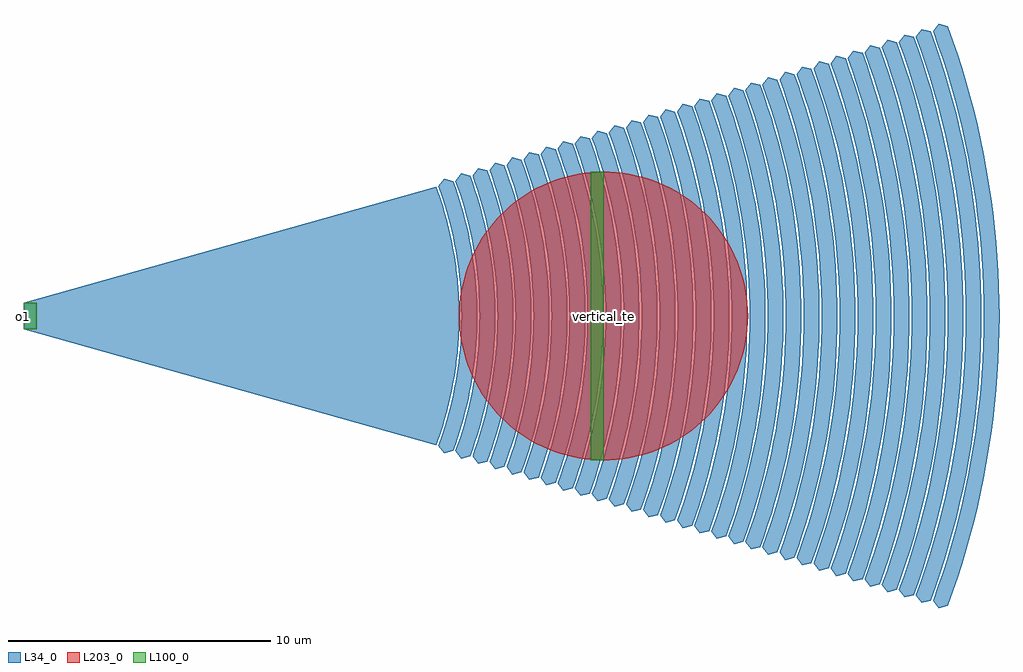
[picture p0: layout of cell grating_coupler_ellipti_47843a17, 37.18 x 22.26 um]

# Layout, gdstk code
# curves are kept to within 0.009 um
import gdstk
lib = gdstk.Library(unit=1e-6, precision=1e-09)
def R(c, l, rs):  # rectangles x0, y0, x1, y1
    for r in rs: c.add(gdstk.rectangle(r[:2], r[2:], *l))
def P(c, l, *ps):  # polygons
    for p in ps: c.add(gdstk.Polygon(p, *l))
L34_0 = (34, 0)
L100_0 = (100, 0)
L203_0 = (203, 0)

circle_347ccaa3 = lib.new_cell('circle_347ccaa3')
P(circle_347ccaa3, L203_0, [(5.5,0),(5.495,0.24),(5.453,0.718),(5.37,1.19),(5.245,1.654),(5.081,2.105),(4.879,2.54),(4.639,2.955),(4.505,3.155),(4.213,3.535),(3.889,3.889),(3.535,4.213),(3.155,4.505),(2.955,4.639),(2.54,4.879),(2.105,5.081),(1.654,5.245),(1.19,5.37),(0.718,5.453),(0.24,5.495),(0,5.5),(-0.24,5.495),(-0.718,5.453),(-1.19,5.37),(-1.654,5.245),(-2.105,5.081),(-2.54,4.879),(-2.955,4.639),(-3.155,4.505),(-3.535,4.213),(-3.889,3.889),(-4.213,3.535),(-4.505,3.155),(-4.639,2.955),(-4.879,2.54),(-5.081,2.105),(-5.245,1.654),(-5.37,1.19),(-5.453,0.718),(-5.495,0.24),(-5.5,0),(-5.495,-0.24),(-5.453,-0.718),(-5.37,-1.19),(-5.245,-1.654),(-5.081,-2.105),(-4.879,-2.54),(-4.639,-2.955),(-4.505,-3.155),(-4.213,-3.535),(-3.889,-3.889),(-3.535,-4.213),(-3.155,-4.505),(-2.955,-4.639),(-2.54,-4.879),(-2.105,-5.081),(-1.654,-5.245),(-1.19,-5.37),(-0.718,-5.453),(-0.24,-5.495),(0,-5.5),(0.24,-5.495),(0.718,-5.453),(1.19,-5.37),(1.654,-5.245),(2.105,-5.081),(2.54,-4.879),(2.955,-4.639),(3.155,-4.505),(3.535,-4.213),(3.889,-3.889),(4.213,-3.535),(4.505,-3.155),(4.639,-2.955),(4.879,-2.54),(5.081,-2.105),(5.245,-1.654),(5.37,-1.19),(5.453,-0.718),(5.495,-0.24)])

grating_coupler_ellipti_ = lib.new_cell('grating_coupler_ellipti_47843a17')
P(grating_coupler_ellipti_, L34_0, [(0,0.5),(0,-0.5),(15.723,-4.924),(16.037,-3.969),(16.282,-2.994),(16.401,-2.376),(16.476,-1.879),(16.565,-1.004),(16.6,0),(16.565,1.004),(16.476,1.879),(16.401,2.376),(16.282,2.994),(16.037,3.969),(15.723,4.924)],
  [(16.021,-5.227),(15.806,-4.938),(15.973,-4.459),(16.189,-3.735),(16.312,-3.246),(16.465,-2.506),(16.544,-2.008),(16.631,-1.258),(16.677,-0.504),(16.686,0),(16.677,0.504),(16.631,1.258),(16.544,2.008),(16.465,2.506),(16.312,3.246),(16.189,3.735),(15.973,4.459),(15.806,4.938),(16.021,5.227),(16.371,5.14),(16.543,4.646),(16.698,4.144),(16.897,3.382),(17.007,2.869),(17.099,2.352),(17.203,1.572),(17.265,0.787),(17.286,0),(17.265,-0.787),(17.203,-1.572),(17.099,-2.352),(17.007,-2.869),(16.897,-3.382),(16.698,-4.144),(16.543,-4.646),(16.371,-5.14)],
  [(16.671,-5.431),(16.456,-5.141),(16.709,-4.393),(16.855,-3.889),(16.983,-3.38),(17.141,-2.609),(17.259,-1.831),(17.314,-1.309),(17.363,-0.524),(17.372,0),(17.363,0.524),(17.314,1.309),(17.259,1.831),(17.141,2.609),(16.983,3.38),(16.855,3.889),(16.709,4.393),(16.456,5.141),(16.671,5.431),(17.021,5.343),(17.282,4.57),(17.434,4.045),(17.567,3.516),(17.682,2.982),(17.778,2.445),(17.886,1.634),(17.95,0.818),(17.972,0),(17.95,-0.818),(17.886,-1.634),(17.778,-2.445),(17.682,-2.982),(17.567,-3.516),(17.434,-4.045),(17.282,-4.57),(17.021,-5.343)],
  [(17.321,-5.634),(17.106,-5.345),(17.369,-4.567),(17.52,-4.043),(17.654,-3.514),(17.818,-2.712),(17.94,-1.904),(17.998,-1.361),(18.048,-0.545),(18.058,0),(18.048,0.545),(17.998,1.361),(17.94,1.904),(17.818,2.712),(17.654,3.514),(17.52,4.043),(17.369,4.567),(17.106,5.345),(17.321,5.634),(17.671,5.547),(17.942,4.744),(18.1,4.199),(18.238,3.65),(18.409,2.818),(18.536,1.977),(18.596,1.414),(18.636,0.849),(18.658,0),(18.636,-0.849),(18.596,-1.414),(18.536,-1.977),(18.409,-2.818),(18.238,-3.65),(18.1,-4.199),(17.942,-4.744),(17.671,-5.547)],
  [(17.97,-5.838),(17.755,-5.548),(17.942,-5.011),(18.186,-4.197),(18.386,-3.371),(18.495,-2.816),(18.585,-2.257),(18.682,-1.413),(18.722,-0.849),(18.744,0),(18.722,0.849),(18.682,1.413),(18.585,2.257),(18.495,2.816),(18.386,3.371),(18.186,4.197),(17.942,5.011),(17.755,5.548),(17.97,5.838),(18.32,5.75),(18.602,4.918),(18.765,4.353),(18.909,3.784),(19.032,3.21),(19.135,2.631),(19.251,1.758),(19.321,0.88),(19.344,0),(19.321,-0.88),(19.251,-1.758),(19.135,-2.631),(19.032,-3.21),(18.909,-3.784),(18.765,-4.353),(18.602,-4.918),(18.32,-5.75)],
  [(18.62,-6.041),(18.405,-5.752),(18.599,-5.195),(18.851,-4.351),(18.995,-3.781),(19.172,-2.919),(19.265,-2.339),(19.365,-1.465),(19.407,-0.88),(19.43,0),(19.42,0.587),(19.365,1.465),(19.265,2.339),(19.172,2.919),(18.995,3.781),(18.851,4.351),(18.599,5.195),(18.405,5.752),(18.62,6.041),(18.97,5.954),(19.169,5.382),(19.349,4.8),(19.579,3.918),(19.763,3.024),(19.859,2.424),(19.934,1.82),(20.006,0.911),(20.03,0),(20.006,-0.911),(19.934,-1.82),(19.859,-2.424),(19.763,-3.024),(19.579,-3.918),(19.349,-4.8),(19.169,-5.382),(18.97,-5.954)],
  [(19.27,-6.245),(19.055,-5.955),(19.256,-5.378),(19.517,-4.505),(19.732,-3.619),(19.849,-3.022),(19.945,-2.422),(20.049,-1.517),(20.092,-0.911),(20.116,0),(20.092,0.911),(20.049,1.517),(19.985,2.121),(19.849,3.022),(19.732,3.619),(19.517,4.505),(19.256,5.378),(19.055,5.955),(19.27,6.245),(19.62,6.157),(19.921,5.266),(20.096,4.661),(20.25,4.052),(20.44,3.128),(20.539,2.507),(20.616,1.883),(20.691,0.943),(20.716,0),(20.691,-0.943),(20.616,-1.883),(20.539,-2.507),(20.44,-3.128),(20.25,-4.052),(20.096,-4.661),(19.921,-5.266),(19.62,-6.157)],
  [(19.92,-6.448),(19.705,-6.159),(20.008,-5.263),(20.182,-4.659),(20.405,-3.742),(20.526,-3.126),(20.625,-2.505),(20.733,-1.569),(20.791,-0.628),(20.802,0),(20.791,0.628),(20.733,1.569),(20.625,2.505),(20.526,3.126),(20.405,3.742),(20.182,4.659),(20.008,5.263),(19.705,6.159),(19.92,6.448),(20.27,6.361),(20.581,5.44),(20.762,4.815),(20.92,4.185),(21.116,3.231),(21.262,2.267),(21.356,1.298),(21.391,0.649),(21.402,0),(21.391,-0.649),(21.356,-1.298),(21.262,-2.267),(21.116,-3.231),(20.92,-4.185),(20.762,-4.815),(20.581,-5.44),(20.27,-6.361)],
  [(20.569,-6.652),(20.354,-6.362),(20.569,-5.746),(20.848,-4.813),(21.007,-4.183),(21.203,-3.229),(21.348,-2.266),(21.417,-1.621),(21.477,-0.649),(21.488,0),(21.477,0.649),(21.417,1.621),(21.348,2.266),(21.203,3.229),(21.007,4.183),(20.848,4.813),(20.569,5.746),(20.354,6.362),(20.569,6.652),(20.919,6.564),(21.241,5.614),(21.427,4.969),(21.591,4.319),(21.732,3.664),(21.849,3.004),(21.982,2.007),(22.061,1.005),(22.088,0),(22.061,-1.005),(21.982,-2.007),(21.849,-3.004),(21.732,-3.664),(21.591,-4.319),(21.427,-4.969),(21.241,-5.614),(20.919,-6.564)],
  [(21.219,-6.855),(21.004,-6.566),(21.327,-5.611),(21.514,-4.967),(21.677,-4.317),(21.88,-3.332),(22.03,-2.339),(22.1,-1.672),(22.162,-0.67),(22.174,0),(22.162,0.67),(22.1,1.672),(22.03,2.339),(21.88,3.332),(21.677,4.317),(21.514,4.967),(21.327,5.611),(21.004,6.566),(21.219,6.855),(21.569,6.768),(21.9,5.788),(22.093,5.123),(22.262,4.453),(22.47,3.437),(22.625,2.412),(22.698,1.725),(22.747,1.036),(22.774,0),(22.747,-1.036),(22.698,-1.725),(22.625,-2.412),(22.47,-3.437),(22.262,-4.453),(22.093,-5.123),(21.9,-5.788),(21.569,-6.768)],
  [(21.869,-7.059),(21.654,-6.769),(21.987,-5.785),(22.179,-5.121),(22.348,-4.451),(22.556,-3.436),(22.666,-2.754),(22.784,-1.724),(22.833,-1.035),(22.86,0),(22.833,1.035),(22.784,1.724),(22.666,2.754),(22.556,3.436),(22.348,4.451),(22.179,5.121),(21.987,5.785),(21.654,6.769),(21.869,7.059),(22.219,6.971),(22.56,5.962),(22.758,5.277),(22.932,4.587),(23.147,3.541),(23.26,2.838),(23.347,2.131),(23.432,1.067),(23.46,0),(23.432,-1.067),(23.347,-2.131),(23.26,-2.838),(23.147,-3.541),(22.932,-4.587),(22.758,-5.277),(22.56,-5.962),(22.219,-6.971)],
  [(22.519,-7.262),(22.304,-6.973),(22.538,-6.298),(22.845,-5.275),(23.096,-4.237),(23.233,-3.539),(23.393,-2.484),(23.468,-1.776),(23.518,-1.067),(23.546,0),(23.518,1.067),(23.468,1.776),(23.393,2.484),(23.233,3.539),(23.096,4.237),(22.845,5.275),(22.538,6.298),(22.304,6.973),(22.519,7.262),(22.869,7.175),(23.22,6.136),(23.424,5.431),(23.603,4.721),(23.824,3.644),(23.94,2.921),(24.03,2.194),(24.117,1.098),(24.146,0),(24.117,-1.098),(24.03,-2.194),(23.885,-3.283),(23.757,-4.004),(23.603,-4.721),(23.424,-5.431),(23.22,-6.136),(22.869,-7.175)],
  [(23.168,-7.466),(22.953,-7.176),(23.195,-6.482),(23.51,-5.429),(23.769,-4.361),(23.91,-3.642),(24.026,-2.919),(24.151,-1.828),(24.203,-1.098),(24.232,0),(24.203,1.098),(24.151,1.828),(24.026,2.919),(23.91,3.642),(23.769,4.361),(23.51,5.429),(23.195,6.482),(22.953,7.176),(23.168,7.466),(23.518,7.378),(23.765,6.669),(23.988,5.948),(24.185,5.221),(24.356,4.487),(24.564,3.376),(24.713,2.256),(24.802,1.129),(24.832,0),(24.802,-1.129),(24.713,-2.256),(24.564,-3.376),(24.356,-4.487),(24.185,-5.221),(23.988,-5.948),(23.765,-6.669),(23.518,-7.378)],
  [(23.818,-7.669),(23.603,-7.38),(23.852,-6.666),(24.176,-5.583),(24.36,-4.852),(24.587,-3.746),(24.756,-2.629),(24.835,-1.88),(24.905,-0.753),(24.918,0),(24.905,0.753),(24.835,1.88),(24.756,2.629),(24.587,3.746),(24.36,4.852),(24.176,5.583),(23.852,6.666),(23.603,7.38),(23.818,7.669),(24.168,7.582),(24.422,6.853),(24.65,6.112),(24.853,5.365),(25.029,4.611),(25.242,3.469),(25.395,2.318),(25.487,1.161),(25.518,0),(25.487,-1.161),(25.395,-2.318),(25.242,-3.469),(25.029,-4.611),(24.853,-5.365),(24.65,-6.112),(24.422,-6.853),(24.168,-7.582)],
  [(24.468,-7.873),(24.253,-7.583),(24.626,-6.48),(24.841,-5.737),(25.115,-4.608),(25.264,-3.849),(25.386,-3.085),(25.519,-1.932),(25.59,-0.774),(25.604,0),(25.59,0.774),(25.519,1.932),(25.386,3.085),(25.264,3.849),(25.115,4.608),(24.841,5.737),(24.626,6.48),(24.253,7.583),(24.468,7.873),(24.818,7.785),(25.078,7.036),(25.313,6.276),(25.521,5.509),(25.701,4.734),(25.921,3.562),(26.078,2.38),(26.172,1.192),(26.204,0),(26.172,-1.192),(26.078,-2.38),(25.921,-3.562),(25.701,-4.734),(25.521,-5.509),(25.313,-6.276),(25.078,-7.036),(24.818,-7.785)],
  [(25.118,-8.076),(24.903,-7.787),(25.165,-7.033),(25.507,-5.891),(25.788,-4.732),(25.941,-3.952),(26.119,-2.774),(26.203,-1.984),(26.276,-0.794),(26.29,0),(26.276,0.794),(26.203,1.984),(26.119,2.774),(25.941,3.952),(25.788,4.732),(25.507,5.891),(25.165,7.033),(24.903,7.787),(25.118,8.076),(25.468,7.989),(25.735,7.22),(25.976,6.44),(26.189,5.653),(26.374,4.858),(26.599,3.655),(26.761,2.442),(26.858,1.223),(26.89,0),(26.858,-1.223),(26.761,-2.442),(26.599,-3.655),(26.374,-4.858),(26.189,-5.653),(25.976,-6.44),(25.735,-7.22),(25.468,-7.989)],
  [(25.768,-8.28),(25.552,-7.99),(25.821,-7.217),(26.172,-6.045),(26.371,-5.254),(26.618,-4.056),(26.8,-2.846),(26.886,-2.035),(26.944,-1.222),(26.976,0),(26.962,0.815),(26.886,2.035),(26.8,2.846),(26.618,4.056),(26.371,5.254),(26.172,6.045),(25.945,6.828),(25.552,7.99),(25.768,8.28),(26.117,8.192),(26.391,7.404),(26.638,6.604),(26.857,5.797),(27.047,4.982),(27.278,3.748),(27.443,2.505),(27.543,1.254),(27.576,0),(27.543,-1.254),(27.443,-2.505),(27.278,-3.748),(27.047,-4.982),(26.857,-5.797),(26.638,-6.604),(26.391,-7.404),(26.117,-8.192)],
  [(26.417,-8.483),(26.202,-8.194),(26.478,-7.401),(26.838,-6.199),(27.042,-5.388),(27.294,-4.159),(27.427,-3.333),(27.57,-2.087),(27.629,-1.253),(27.662,0),(27.629,1.253),(27.57,2.087),(27.427,3.333),(27.294,4.159),(27.042,5.388),(26.838,6.199),(26.478,7.401),(26.202,8.194),(26.417,8.483),(26.767,8.396),(27.048,7.588),(27.301,6.768),(27.525,5.941),(27.72,5.105),(27.957,3.841),(28.126,2.567),(28.228,1.285),(28.262,0),(28.228,-1.285),(28.126,-2.567),(27.957,-3.841),(27.72,-5.105),(27.525,-5.941),(27.301,-6.768),(27.048,-7.588),(26.767,-8.396)],
  [(27.067,-8.687),(26.852,-8.397),(27.265,-7.176),(27.612,-5.938),(27.892,-4.683),(28.107,-3.416),(28.212,-2.566),(28.288,-1.712),(28.333,-0.857),(28.348,0),(28.333,0.857),(28.288,1.712),(28.212,2.566),(28.107,3.416),(27.892,4.683),(27.612,5.938),(27.265,7.176),(26.852,8.397),(27.067,8.687),(27.417,8.599),(27.705,7.772),(27.964,6.932),(28.193,6.084),(28.393,5.229),(28.635,3.934),(28.809,2.629),(28.913,1.316),(28.948,0),(28.913,-1.316),(28.809,-2.629),(28.635,-3.934),(28.393,-5.229),(28.193,-6.084),(27.964,-6.932),(27.705,-7.772),(27.417,-8.599)],
  [(27.717,-8.89),(27.502,-8.601),(27.924,-7.35),(28.28,-6.082),(28.567,-4.797),(28.787,-3.499),(28.895,-2.628),(28.972,-1.754),(29.019,-0.877),(29.034,0),(29.019,0.877),(28.972,1.754),(28.895,2.628),(28.787,3.499),(28.567,4.797),(28.28,6.082),(27.924,7.35),(27.502,8.601),(27.717,8.89),(28.067,8.803),(28.361,7.956),(28.627,7.096),(28.862,6.228),(29.066,5.353),(29.314,4.028),(29.492,2.691),(29.598,1.347),(29.634,0),(29.598,-1.347),(29.492,-2.691),(29.314,-4.028),(29.066,-5.353),(28.862,-6.228),(28.627,-7.096),(28.361,-7.956),(28.067,-8.803)],
  [(28.367,-9.094),(28.151,-8.804),(28.584,-7.524),(28.948,-6.226),(29.242,-4.91),(29.467,-3.582),(29.578,-2.69),(29.657,-1.795),(29.704,-0.898),(29.72,0),(29.704,0.898),(29.657,1.795),(29.578,2.69),(29.467,3.582),(29.242,4.91),(28.948,6.226),(28.584,7.524),(28.151,8.804),(28.367,9.094),(28.716,9.006),(29.018,8.14),(29.289,7.26),(29.53,6.372),(29.739,5.477),(29.992,4.121),(30.174,2.753),(30.284,1.379),(30.32,0),(30.284,-1.379),(30.174,-2.753),(29.992,-4.121),(29.739,-5.477),(29.53,-6.372),(29.289,-7.26),(29.018,-8.14),(28.716,-9.006)],
  [(29.016,-9.297),(28.801,-9.008),(29.244,-7.698),(29.5,-6.815),(29.825,-5.474),(30.079,-4.119),(30.208,-3.209),(30.305,-2.295),(30.37,-1.378),(30.406,0),(30.37,1.378),(30.305,2.295),(30.208,3.209),(30.079,4.119),(29.825,5.474),(29.5,6.815),(29.244,7.698),(28.801,9.008),(29.016,9.297),(29.366,9.21),(29.674,8.324),(29.952,7.424),(30.198,6.516),(30.411,5.6),(30.671,4.214),(30.857,2.816),(30.969,1.41),(31.006,0),(30.969,-1.41),(30.857,-2.816),(30.671,-4.214),(30.411,-5.6),(30.198,-6.516),(29.952,-7.424),(29.674,-8.324),(29.366,-9.21)],
  [(29.666,-9.501),(29.451,-9.211),(29.904,-7.872),(30.284,-6.514),(30.592,-5.137),(30.827,-3.747),(30.943,-2.814),(31.026,-1.878),(31.075,-0.94),(31.092,0),(31.075,0.94),(31.026,1.878),(30.943,2.814),(30.827,3.747),(30.592,5.137),(30.284,6.514),(29.904,7.872),(29.451,9.211),(29.666,9.501),(30.016,9.413),(30.331,8.507),(30.615,7.588),(30.866,6.66),(31.084,5.724),(31.35,4.307),(31.54,2.878),(31.654,1.441),(31.692,0),(31.654,-1.441),(31.54,-2.878),(31.35,-4.307),(31.084,-5.724),(30.866,-6.66),(30.615,-7.588),(30.331,-8.507),(30.016,-9.413)],
  [(30.316,-9.704),(30.101,-9.415),(30.563,-8.046),(30.831,-7.123),(31.171,-5.722),(31.436,-4.305),(31.571,-3.354),(31.672,-2.399),(31.74,-1.44),(31.778,0),(31.74,1.44),(31.672,2.399),(31.571,3.354),(31.436,4.305),(31.171,5.722),(30.831,7.123),(30.563,8.046),(30.101,9.415),(30.316,9.704),(30.666,9.617),(30.988,8.691),(31.277,7.752),(31.534,6.804),(31.757,5.848),(32.028,4.4),(32.102,3.914),(32.222,2.94),(32.309,1.962),(32.339,1.472),(32.361,0.982),(32.378,0),(32.361,-0.982),(32.339,-1.472),(32.309,-1.962),(32.222,-2.94),(32.102,-3.914),(32.028,-4.4),(31.757,-5.848),(31.534,-6.804),(31.277,-7.752),(30.988,-8.691),(30.666,-9.617)],
  [(30.966,-9.908),(30.75,-9.618),(30.917,-9.153),(31.223,-8.22),(31.364,-7.75),(31.62,-6.802),(31.942,-5.365),(32.033,-4.882),(32.188,-3.913),(32.308,-2.939),(32.395,-1.961),(32.447,-0.981),(32.464,0),(32.447,0.981),(32.395,1.961),(32.308,2.939),(32.188,3.913),(32.033,4.882),(31.942,5.365),(31.62,6.802),(31.364,7.75),(31.223,8.22),(30.917,9.153),(30.75,9.618),(30.966,9.908),(31.315,9.82),(31.644,8.875),(31.94,7.916),(32.202,6.948),(32.43,5.971),(32.707,4.493),(32.782,3.997),(32.905,3.002),(32.954,2.503),(33.024,1.503),(33.06,0.501),(33.064,0),(33.06,-0.501),(33.024,-1.503),(32.954,-2.503),(32.905,-3.002),(32.848,-3.5),(32.707,-4.493),(32.43,-5.971),(32.202,-6.948),(31.94,-7.916),(31.644,-8.875),(31.315,-9.82)],
  [(31.615,-10.111),(31.4,-9.822),(31.731,-8.872),(31.883,-8.394),(32.027,-7.914),(32.289,-6.946),(32.617,-5.478),(32.793,-4.491),(32.934,-3.499),(33.04,-2.502),(33.11,-1.503),(33.146,-0.501),(33.15,0),(33.146,0.501),(33.11,1.503),(33.04,2.502),(32.934,3.499),(32.793,4.491),(32.617,5.478),(32.289,6.946),(32.027,7.914),(31.883,8.394),(31.731,8.872),(31.4,9.822),(31.615,10.111),(31.965,10.024),(32.301,9.059),(32.603,8.08),(32.87,7.092),(33.103,6.095),(33.206,5.594),(33.385,4.586),(33.462,4.08),(33.588,3.064),(33.678,2.045),(33.709,1.534),(33.746,0.512),(33.75,0),(33.746,-0.512),(33.709,-1.534),(33.678,-2.045),(33.588,-3.064),(33.462,-4.08),(33.385,-4.586),(33.3,-5.091),(33.103,-6.095),(32.87,-7.092),(32.603,-8.08),(32.301,-9.059),(31.965,-10.024)],
  [(32.265,-10.315),(32.05,-10.025),(32.543,-8.568),(32.957,-7.089),(33.189,-6.093),(33.472,-4.584),(33.674,-3.063),(33.764,-2.044),(33.818,-1.023),(33.836,0),(33.818,1.023),(33.764,2.044),(33.674,3.063),(33.472,4.584),(33.292,5.592),(32.957,7.089),(32.543,8.568),(32.05,10.025),(32.265,10.315),(32.615,10.227),(32.957,9.243),(33.266,8.244),(33.539,7.236),(33.776,6.219),(33.977,5.194),(34.064,4.679),(34.142,4.163),(34.271,3.127),(34.395,1.565),(34.418,1.044),(34.436,0),(34.418,-1.044),(34.395,-1.565),(34.271,-3.127),(34.142,-4.163),(34.064,-4.679),(33.977,-5.194),(33.776,-6.219),(33.539,-7.236),(33.266,-8.244),(32.957,-9.243),(32.615,-10.227)],
  [(32.915,-10.518),(32.7,-10.229),(33.044,-9.24),(33.352,-8.242),(33.493,-7.739),(33.748,-6.726),(33.862,-6.217),(34.063,-5.192),(34.15,-4.677),(34.297,-3.644),(34.407,-2.606),(34.481,-1.565),(34.504,-1.043),(34.522,0),(34.504,1.043),(34.481,1.565),(34.407,2.606),(34.297,3.644),(34.15,4.677),(34.063,5.192),(33.862,6.217),(33.748,6.726),(33.493,7.739),(33.352,8.242),(33.044,9.24),(32.7,10.229),(32.915,10.518),(33.265,10.431),(33.614,9.427),(33.928,8.408),(34.207,7.38),(34.449,6.342),(34.556,5.821),(34.743,4.772),(34.822,4.246),(34.953,3.189),(35.005,2.659),(35.08,1.597),(35.103,1.065),(35.122,0),(35.103,-1.065),(35.08,-1.597),(35.005,-2.659),(34.953,-3.189),(34.822,-4.246),(34.743,-4.772),(34.556,-5.821),(34.449,-6.342),(34.207,-7.38),(33.928,-8.408),(33.614,-9.427),(33.265,-10.431)],
  [(33.565,-10.722),(33.349,-10.432),(33.53,-9.928),(33.862,-8.916),(34.015,-8.406),(34.293,-7.377),(34.535,-6.34),(34.642,-5.819),(34.829,-4.77),(34.978,-3.716),(35.091,-2.658),(35.166,-1.596),(35.208,0),(35.166,1.596),(35.091,2.658),(34.978,3.716),(34.829,4.77),(34.642,5.819),(34.535,6.34),(34.293,7.377),(34.015,8.406),(33.862,8.916),(33.53,9.928),(33.349,10.432),(33.565,10.722),(33.914,10.634),(34.271,9.611),(34.591,8.572),(34.875,7.524),(35.122,6.466),(35.331,5.401),(35.421,4.865),(35.574,3.79),(35.636,3.251),(35.688,2.711),(35.765,1.628),(35.789,1.085),(35.808,0),(35.789,-1.085),(35.765,-1.628),(35.688,-2.711),(35.636,-3.251),(35.574,-3.79),(35.421,-4.865),(35.331,-5.401),(35.122,-6.466),(34.875,-7.524),(34.591,-8.572),(34.271,-9.611),(33.914,-10.634)],
  [(34.214,-10.925),(33.999,-10.636),(34.183,-10.122),(34.522,-9.09),(34.824,-8.047),(35.089,-6.994),(35.208,-6.464),(35.417,-5.399),(35.507,-4.864),(35.66,-3.789),(35.774,-2.71),(35.851,-1.627),(35.875,-1.085),(35.894,0),(35.875,1.085),(35.851,1.627),(35.774,2.71),(35.66,3.789),(35.507,4.864),(35.417,5.399),(35.208,6.464),(35.089,6.994),(34.824,8.047),(34.522,9.09),(34.183,10.122),(33.999,10.636),(34.214,10.925),(34.564,10.838),(34.927,9.794),(35.254,8.736),(35.543,7.668),(35.794,6.59),(35.906,6.048),(36.1,4.958),(36.255,3.863),(36.319,3.313),(36.416,2.211),(36.45,1.659),(36.475,1.106),(36.494,0),(36.475,-1.106),(36.45,-1.659),(36.416,-2.211),(36.319,-3.313),(36.255,-3.863),(36.1,-4.958),(36.008,-5.504),(35.794,-6.59),(35.543,-7.668),(35.254,-8.736),(34.927,-9.794),(34.564,-10.838)],
  [(34.864,-11.129),(34.649,-10.839),(35.014,-9.791),(35.182,-9.264),(35.489,-8.201),(35.76,-7.128),(35.881,-6.588),(36.094,-5.502),(36.186,-4.957),(36.269,-4.41),(36.405,-3.312),(36.502,-2.21),(36.56,-1.106),(36.58,0),(36.56,1.106),(36.502,2.21),(36.405,3.312),(36.269,4.41),(36.186,4.957),(36.094,5.502),(35.881,6.588),(35.76,7.128),(35.489,8.201),(35.182,9.264),(35.014,9.791),(34.649,10.839),(34.864,11.129),(35.214,11.041),(35.584,9.978),(35.917,8.9),(36.211,7.812),(36.467,6.714),(36.581,6.161),(36.778,5.051),(36.863,4.494),(37.001,3.375),(37.101,2.252),(37.135,1.69),(37.175,0.564),(37.18,0),(37.175,-0.564),(37.135,-1.69),(37.101,-2.252),(37.001,-3.375),(36.863,-4.494),(36.778,-5.051),(36.581,-6.161),(36.467,-6.714),(36.211,-7.812),(35.917,-8.9),(35.584,-9.978),(35.214,-11.041)])
R(grating_coupler_ellipti_, L100_0, [(21.6,-5.5,22.1,5.5), (0,-0.5,0.5,0.5)])
grating_coupler_ellipti_.add(gdstk.Reference(circle_347ccaa3, (22.1,0)))
grating_coupler_ellipti_.add(gdstk.Label('vertical_te', (22.1,0), layer=100, texttype=0))
grating_coupler_ellipti_.add(gdstk.Label('o1', (0,0), layer=100, texttype=0))

lib.write_gds('grating_coupler_ellipti_47843a17.gds')
